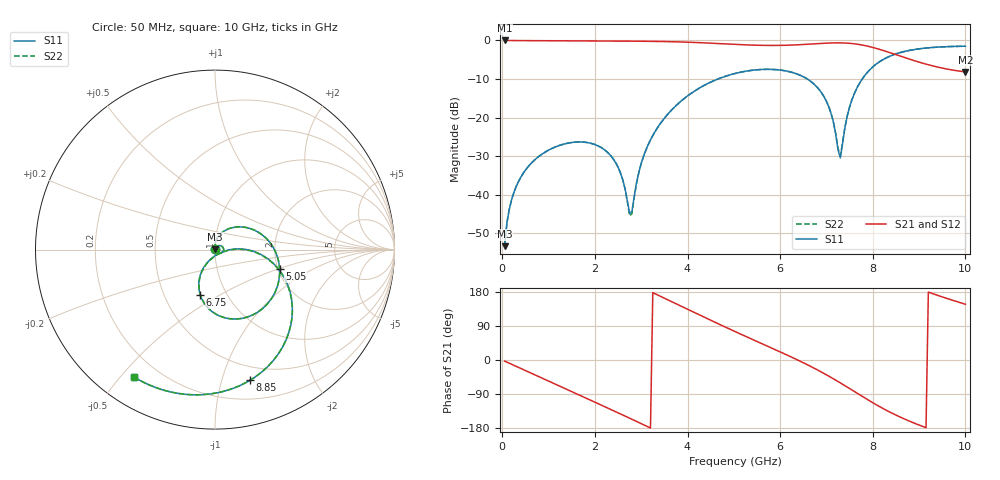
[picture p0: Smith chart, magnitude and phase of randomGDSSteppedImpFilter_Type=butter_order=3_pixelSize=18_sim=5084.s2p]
! freq	dB(S11)	phase(S11)	dB(S12)	phase(S12)
!  dB(S21)	phase(S21)	dB(S22)	phase(S22)
!S-par simulation data
#  GHz  S  DB  R 50
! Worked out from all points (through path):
!   200 points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, 50 MHz to 10 GHz, reference 50 ohm
!   highest |S21| = -0.01 dB at 50 MHz (marker M1); lowest = -8.1 dB at 10 GHz (marker M2)
!   group delay of S21, straight-line fit = 164 ps
!   lowest |S11| = -53.3 dB at 50 MHz (marker M3), VSWR 1.00, Z = 50 + j0.214 ohm
!   |S11| at or under -10 dB: start of sweep to 4.657 GHz; 6.586 GHz to 7.773 GHz (1.188 GHz wide, 16.5 % of centre)
!   |S22| runs from -53.3 to -1.5 dB; largest |S21 - S12| = 0
!   S11 on the Smith chart (normalised r, x): 50 MHz: 1.00, +0.00; 5.05 GHz: 2.04, -0.52; 6.75 GHz: 0.75, -0.41; 8.85 GHz: 0.37, -1.24; 10 GHz: 0.11, -0.55
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0.05  -53.33 84.4  -0.01 -2.9  -0.01 -2.9  -53.32 84.4
0.2  -41.34 78.0  -0.03 -11.2  -0.03 -11.2  -41.33 78.0
0.5  -33.62 61.7  -0.05 -27.9  -0.05 -27.9  -33.61 61.6
1.15  -27.59 26.7  -0.08 -64.0  -0.08 -64.0  -27.58 26.6
1.75  -26.36 -4.9  -0.13 -97.4  -0.13 -97.4  -26.35 -5.0
2.45  -31.72 -37.4  -0.17 -136.6  -0.17 -136.6  -31.71 -38.1
2.6  -36.07 -37.8  -0.18 -145.1  -0.18 -145.1  -36.09 -39.2
2.75  -44.90 5.2  -0.19 -153.6  -0.19 -153.6  -45.47 2.8
3.05  -30.02 87.8  -0.22 -170.8  -0.22 -170.8  -30.07 88.7
3.4  -21.76 73.8  -0.27 169.0  -0.27 169.0  -21.78 74.2
4.25  -12.39 27.5  -0.57 119.4  -0.57 119.4  -12.40 27.7
5.05  -8.50 -16.9  -1.04 73.7  -1.04 73.7  -8.50 -16.7
5.95  -7.62 -64.9  -1.29 24.2  -1.29 24.2  -7.62 -64.7
6.7  -11.00 -105.5  -0.91 -19.4  -0.91 -19.4  -10.99 -105.1
6.75  -11.54 -108.2  -0.87 -22.6  -0.87 -22.6  -11.53 -107.8
7.05  -17.21 -121.8  -0.68 -42.5  -0.68 -42.5  -17.18 -121.0
7.3  -30.46 -50.4  -0.63 -60.4  -0.63 -60.4  -29.91 -51.3
7.45  -19.54 1.7  -0.71 -71.6  -0.71 -71.6  -19.50 0.6
7.65  -12.53 -4.2  -0.95 -86.8  -0.95 -86.8  -12.53 -4.7
8.35  -4.19 -48.1  -3.09 -136.3  -3.09 -136.3  -4.19 -48.2
8.85  -2.45 -75.0  -5.07 -164.3  -5.07 -164.3  -2.46 -75.0
10  -1.50 -122.3  -8.15 147.1  -8.15 147.1  -1.50 -122.3
